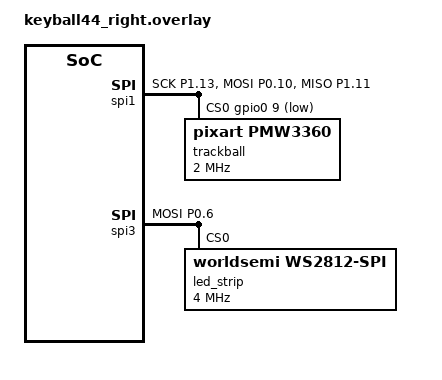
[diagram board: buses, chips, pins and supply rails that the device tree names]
/*
 * Copyright (c) 2020 ZMK Contributors
 *
 * SPDX-License-Identifier: MIT
 */

#include <dt-bindings/led/led.h>
#include "keyball44.dtsi"

&default_transform {
    col-offset = <6>;
};

&kscan0 {
    col-gpios =
        <&pro_micro 4 GPIO_ACTIVE_HIGH>,
        <&pro_micro 5 GPIO_ACTIVE_HIGH>,
        <&pro_micro 6 GPIO_ACTIVE_HIGH>,
        <&pro_micro 7 GPIO_ACTIVE_HIGH>,
        <&pro_micro 8 GPIO_ACTIVE_HIGH>,
        <&pro_micro 9 GPIO_ACTIVE_HIGH>;
};

/* UART0 also claims P0.06 (TX); keep it off so SPI can own LED DI. */
&uart0 {
    status = "disabled";
};

&pinctrl {
    /*
     * Official Keyball44 J2 SPI (Pro Micro):
     *   SCK  = D15 = P1.13
     *   MOSI = D16 = P0.10
     *   MISO = D14 = P1.11
     *   CS   = D10 = P0.09
     * Stock board has no MOTION/IRQ net to the MCU — poll the sensor.
     */
    spi1_default: spi1_default {
        group1 {
            psels = <NRF_PSEL(SPIM_SCK, 1, 13)>,
                    <NRF_PSEL(SPIM_MOSI, 0, 10)>;
        };
        group2 {
            psels = <NRF_PSEL(SPIM_MISO, 1, 11)>;
            input-enable;
        };
    };

    spi1_sleep: spi1_sleep {
        group1 {
            psels = <NRF_PSEL(SPIM_SCK, 1, 13)>,
                    <NRF_PSEL(SPIM_MOSI, 0, 10)>;
            low-power-enable;
        };
        group2 {
            psels = <NRF_PSEL(SPIM_MISO, 1, 11)>;
            low-power-enable;
        };
    };

    /*
     * Keyball44 KiCad: LED DIN <- JP19 <- Pro Micro TX (D1) = P0.06.
     * QMK lists D3, but the published netlist wires the strip to TX.
     */
    spi3_default: spi3_default {
        group1 {
            psels = <NRF_PSEL(SPIM_MOSI, 0, 6)>;
            nordic,drive-mode = <NRF_DRIVE_H0H1>;
        };
    };

    spi3_sleep: spi3_sleep {
        group1 {
            psels = <NRF_PSEL(SPIM_MOSI, 0, 6)>;
            low-power-enable;
        };
    };
};

&spi1 {
    status = "okay";
    compatible = "nordic,nrf-spim";
    pinctrl-0 = <&spi1_default>;
    pinctrl-1 = <&spi1_sleep>;
    pinctrl-names = "default", "sleep";
    cs-gpios = <&gpio0 9 GPIO_ACTIVE_LOW>;

    trackball: trackball@0 {
        status = "okay";
        compatible = "pixart,pmw3360";
        reg = <0>;
        spi-max-frequency = <2000000>;
        /* No irq-gpios → george-norton driver polls (Keyball has no MOTION pin). */
        cpi = <1200>;
        rotate-180;
        polling-interval = <1000>;
    };
};

/* Ball side has 29 SK6812 LEDs. */
&spi3 {
    compatible = "nordic,nrf-spim";
    status = "okay";

    pinctrl-0 = <&spi3_default>;
    pinctrl-1 = <&spi3_sleep>;
    pinctrl-names = "default", "sleep";

    led_strip: ws2812@0 {
        compatible = "worldsemi,ws2812-spi";
        reg = <0>;
        spi-max-frequency = <4000000>;
        chain-length = <29>;
        spi-one-frame = <0x70>;
        spi-zero-frame = <0x40>;
        color-mapping = <LED_COLOR_ID_GREEN
                         LED_COLOR_ID_RED
                         LED_COLOR_ID_BLUE>;
    };
};

/ {
    trackball_listener {
        compatible = "zmk,input-listener";
        device = <&trackball>;
    };

    chosen {
        zmk,underglow = &led_strip;
    };
};
